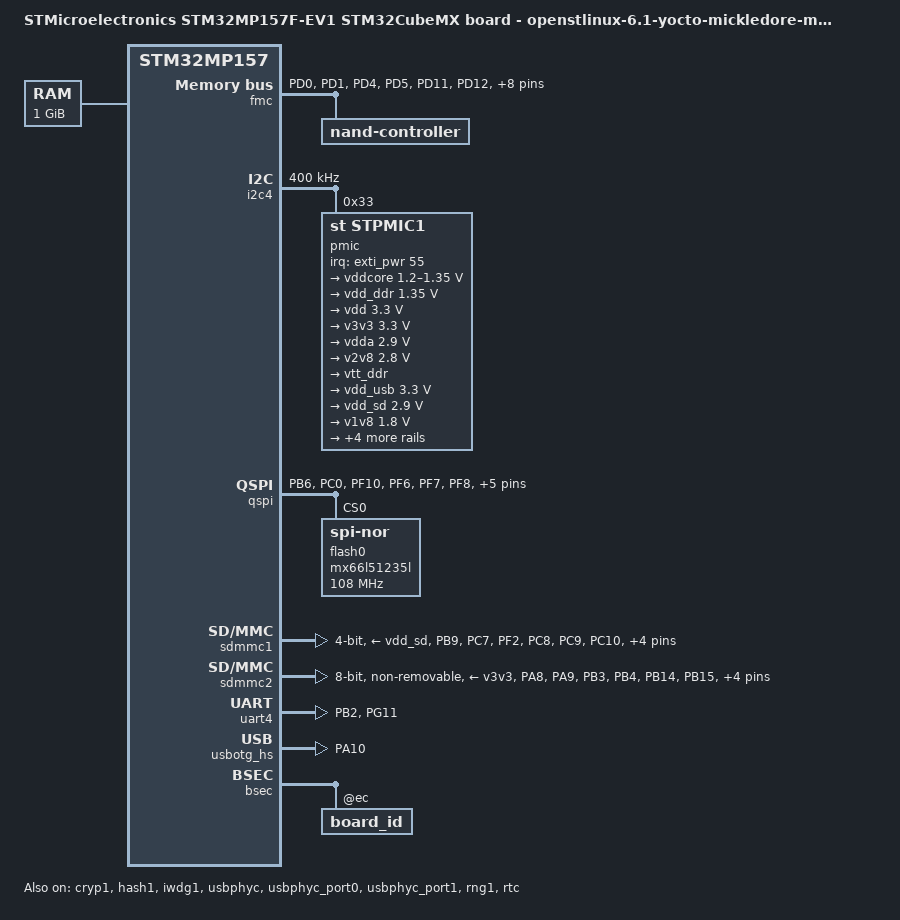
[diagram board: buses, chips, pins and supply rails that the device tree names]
// SPDX-License-Identifier: (GPL-2.0-or-later OR BSD-3-Clause)
/*
 * Copyright (C) 2024, STMicroelectronics - All Rights Reserved
 * Author: STM32CubeMX code generation for STMicroelectronics.
 */

/* For more information on Device Tree configuration, please refer to
 * https://wiki.st.com/stm32mpu/wiki/Category:Device_tree_configuration
 */

/dts-v1/;

#include <dt-bindings/pinctrl/stm32-pinfunc.h>
#include <dt-bindings/clock/stm32mp1-clksrc.h>
#include "stm32mp15-mx.dtsi"

#include "stm32mp157.dtsi"
#include "stm32mp15xf.dtsi"
#include "stm32mp15xxaa-pinctrl.dtsi"
#include "stm32mp15-ddr.dtsi"

/* USER CODE BEGIN includes */
#include "stm32mp15-pinctrl.dtsi"
/* USER CODE END includes */

/ {
	model = "STMicroelectronics STM32MP157F-EV1 STM32CubeMX board - openstlinux-6.1-yocto-mickledore-mpu-v24.06.26";
	compatible = "st,stm32mp157f-stm32mp157f-ev1-mx", "st,stm32mp157f-ev1", "st,stm32mp157";

	memory@c0000000 {
		device_type = "memory";
		reg = <0xc0000000 0x40000000>;

		/* USER CODE BEGIN memory */
		/* USER CODE END memory */
	};

	/* USER CODE BEGIN root */

	chosen{
		stdout-path = "serial0:115200n8";
	};

	aliases{
		serial0 = &uart4;
		serial1 = &usart3;
	};
	/* USER CODE END root */

	clocks {
		/* USER CODE BEGIN clocks */
		/* USER CODE END clocks */

		clk_hsi: clk-hsi {
			clock-frequency = <64000000>;

			/* USER CODE BEGIN clk_hsi */
			/* USER CODE END clk_hsi */
		};
		clk_lse: clk-lse {
			clock-frequency = <32768>;
			st,drive = < LSEDRV_MEDIUM_HIGH >;

			/* USER CODE BEGIN clk_lse */
			/* USER CODE END clk_lse */
		};
		clk_hse: clk-hse {
			clock-frequency = <24000000>;
			st,digbypass;

			/* USER CODE BEGIN clk_hse */
			/* USER CODE END clk_hse */
		};
	};

}; /*root*/

&pinctrl {
	fmc_pins_mx: fmc_mx-0 {
		pins1 {
			pinmux = <STM32_PINMUX('D', 0, AF12)>, /* FMC_D2 */
					 <STM32_PINMUX('D', 1, AF12)>, /* FMC_D3 */
					 <STM32_PINMUX('D', 4, AF12)>, /* FMC_NOE */
					 <STM32_PINMUX('D', 5, AF12)>, /* FMC_NWE */
					 <STM32_PINMUX('D', 11, AF12)>, /* FMC_CLE */
					 <STM32_PINMUX('D', 12, AF12)>, /* FMC_ALE */
					 <STM32_PINMUX('D', 14, AF12)>, /* FMC_D0 */
					 <STM32_PINMUX('D', 15, AF12)>, /* FMC_D1 */
					 <STM32_PINMUX('E', 7, AF12)>, /* FMC_D4 */
					 <STM32_PINMUX('E', 8, AF12)>, /* FMC_D5 */
					 <STM32_PINMUX('E', 9, AF12)>, /* FMC_D6 */
					 <STM32_PINMUX('E', 10, AF12)>, /* FMC_D7 */
					 <STM32_PINMUX('G', 9, AF12)>; /* FMC_NCE */
			bias-disable;
			drive-push-pull;
			slew-rate = <1>;
		};
		pins2 {
			pinmux = <STM32_PINMUX('D', 6, AF12)>; /* FMC_NWAIT */
			bias-pull-up;
		};
	};

	quadspi_pins_mx: quadspi_mx-0 {
		pins1 {
			pinmux = <STM32_PINMUX('B', 6, AF10)>, /* QUADSPI_BK1_NCS */
					 <STM32_PINMUX('C', 0, AF10)>; /* QUADSPI_BK2_NCS */
			bias-pull-up;
			drive-push-pull;
			slew-rate = <1>;
		};
		pins2 {
			pinmux = <STM32_PINMUX('F', 10, AF9)>; /* QUADSPI_CLK */
			bias-disable;
			drive-push-pull;
			slew-rate = <3>;
		};
		pins3 {
			pinmux = <STM32_PINMUX('F', 6, AF9)>, /* QUADSPI_BK1_IO3 */
					 <STM32_PINMUX('F', 7, AF9)>, /* QUADSPI_BK1_IO2 */
					 <STM32_PINMUX('F', 8, AF10)>, /* QUADSPI_BK1_IO0 */
					 <STM32_PINMUX('F', 9, AF10)>, /* QUADSPI_BK1_IO1 */
					 <STM32_PINMUX('G', 7, AF11)>, /* QUADSPI_BK2_IO3 */
					 <STM32_PINMUX('G', 10, AF11)>, /* QUADSPI_BK2_IO2 */
					 <STM32_PINMUX('H', 2, AF9)>, /* QUADSPI_BK2_IO0 */
					 <STM32_PINMUX('H', 3, AF9)>; /* QUADSPI_BK2_IO1 */
			bias-disable;
			drive-push-pull;
			slew-rate = <1>;
		};
	};

	sdmmc1_pins_mx: sdmmc1_mx-0 {
		pins1 {
			pinmux = <STM32_PINMUX('B', 9, AF11)>, /* SDMMC1_CDIR */
					 <STM32_PINMUX('C', 7, AF8)>, /* SDMMC1_D123DIR */
					 <STM32_PINMUX('F', 2, AF11)>; /* SDMMC1_D0DIR */
			bias-pull-up;
			drive-push-pull;
			slew-rate = <1>;
		};
		pins2 {
			pinmux = <STM32_PINMUX('C', 8, AF12)>, /* SDMMC1_D0 */
					 <STM32_PINMUX('C', 9, AF12)>, /* SDMMC1_D1 */
					 <STM32_PINMUX('C', 10, AF12)>, /* SDMMC1_D2 */
					 <STM32_PINMUX('C', 11, AF12)>, /* SDMMC1_D3 */
					 <STM32_PINMUX('D', 2, AF12)>; /* SDMMC1_CMD */
			bias-disable;
			drive-push-pull;
			slew-rate = <1>;
		};
		pins3 {
			pinmux = <STM32_PINMUX('C', 12, AF12)>; /* SDMMC1_CK */
			bias-disable;
			drive-push-pull;
			slew-rate = <2>;
		};
		pins4 {
			pinmux = <STM32_PINMUX('E', 4, AF8)>; /* SDMMC1_CKIN */
			bias-pull-up;
		};
	};

	sdmmc2_pins_mx: sdmmc2_mx-0 {
		pins1 {
			pinmux = <STM32_PINMUX('A', 8, AF9)>, /* SDMMC2_D4 */
					 <STM32_PINMUX('A', 9, AF10)>, /* SDMMC2_D5 */
					 <STM32_PINMUX('B', 3, AF9)>, /* SDMMC2_D2 */
					 <STM32_PINMUX('B', 4, AF9)>, /* SDMMC2_D3 */
					 <STM32_PINMUX('B', 14, AF9)>, /* SDMMC2_D0 */
					 <STM32_PINMUX('B', 15, AF9)>, /* SDMMC2_D1 */
					 <STM32_PINMUX('D', 3, AF9)>, /* SDMMC2_D7 */
					 <STM32_PINMUX('E', 5, AF9)>, /* SDMMC2_D6 */
					 <STM32_PINMUX('G', 6, AF10)>; /* SDMMC2_CMD */
			bias-pull-up;
			drive-push-pull;
			slew-rate = <1>;
		};
		pins2 {
			pinmux = <STM32_PINMUX('E', 3, AF9)>; /* SDMMC2_CK */
			bias-pull-up;
			drive-push-pull;
			slew-rate = <2>;
		};
	};

	uart4_pins_mx: uart4_mx-0 {
		pins1 {
			pinmux = <STM32_PINMUX('B', 2, AF8)>; /* UART4_RX */
			bias-disable;
		};
		pins2 {
			pinmux = <STM32_PINMUX('G', 11, AF6)>; /* UART4_TX */
			bias-disable;
			drive-push-pull;
			slew-rate = <0>;
		};
	};

	usb_otg_hs_pins_mx: usb_otg_hs_mx-0 {
		pins {
			pinmux = <STM32_PINMUX('A', 10, ANALOG)>; /* USB_OTG_HS_ID */
		};
	};

	/* USER CODE BEGIN pinctrl */
	/* USER CODE END pinctrl */
};

&pinctrl_z {
	i2c4_pins_z_mx: i2c4_mx-0 {
		pins {
			pinmux = <STM32_PINMUX('Z', 4, AF6)>, /* I2C4_SCL */
					 <STM32_PINMUX('Z', 5, AF6)>; /* I2C4_SDA */
			bias-disable;
			drive-open-drain;
			slew-rate = <0>;
		};
	};

	/* USER CODE BEGIN pinctrl_z */
	/* USER CODE END pinctrl_z */
};

&cryp1{
	status = "okay";

	/* USER CODE BEGIN cryp1 */
	/* USER CODE END cryp1 */
};

&fmc{
	pinctrl-names = "default";
	pinctrl-0 = <&fmc_pins_mx>;
	status = "okay";

	/* USER CODE BEGIN fmc */

	nand-controller@4,0{
		status = "okay";

		nand@0{
			reg = <0>;
			nand-on-flash-bbt;
			#address-cells = <1>;
			#size-cells = <1>;
		};
	};
	/* USER CODE END fmc */
};

&hash1{
	status = "okay";

	/* USER CODE BEGIN hash1 */
	/* USER CODE END hash1 */
};

&i2c4{
	pinctrl-names = "default";
	pinctrl-0 = <&i2c4_pins_z_mx>;
	status = "okay";

	/* USER CODE BEGIN i2c4 */
	i2c-scl-rising-time-ns = <185>;
	i2c-scl-falling-time-ns = <20>;
	clock-frequency = <400000>;

	pmic:stpmic@33{
		compatible = "st,stpmic1";
		reg = <0x33>;
		interrupts-extended = <&exti_pwr 55 IRQ_TYPE_EDGE_FALLING>;
		interrupt-controller;
		#interrupt-cells = <2>;
		status = "okay";

		regulators{
			compatible = "st,stpmic1-regulators";
			ldo1-supply = <&v3v3>;
			ldo2-supply = <&v3v3>;
			ldo3-supply = <&vdd_ddr>;
			ldo5-supply = <&v3v3>;
			ldo6-supply = <&v3v3>;
			pwr_sw1-supply = <&bst_out>;
			pwr_sw2-supply = <&bst_out>;

			vddcore:buck1{
				regulator-name = "vddcore";
				regulator-min-microvolt = <1200000>;
				regulator-max-microvolt = <1350000>;
				regulator-always-on;
				regulator-initial-mode = <0>;
				regulator-over-current-protection;
			};

			vdd_ddr:buck2{
				regulator-name = "vdd_ddr";
				regulator-min-microvolt = <1350000>;
				regulator-max-microvolt = <1350000>;
				regulator-always-on;
				regulator-initial-mode = <0>;
				regulator-over-current-protection;
			};

			vdd:buck3{
				regulator-name = "vdd";
				regulator-min-microvolt = <3300000>;
				regulator-max-microvolt = <3300000>;
				regulator-always-on;
				st,mask-reset;
				regulator-initial-mode = <0>;
				regulator-over-current-protection;
			};

			v3v3:buck4{
				regulator-name = "v3v3";
				regulator-min-microvolt = <3300000>;
				regulator-max-microvolt = <3300000>;
				regulator-always-on;
				regulator-over-current-protection;
				regulator-initial-mode = <0>;
			};

			vdda:ldo1{
				regulator-name = "vdda";
				regulator-min-microvolt = <2900000>;
				regulator-max-microvolt = <2900000>;
			};

			v2v8:ldo2{
				regulator-name = "v2v8";
				regulator-min-microvolt = <2800000>;
				regulator-max-microvolt = <2800000>;
			};

			vtt_ddr:ldo3{
				regulator-name = "vtt_ddr";
				regulator-always-on;
				regulator-over-current-protection;
				st,regulator-sink-source;
			};

			vdd_usb:ldo4{
				regulator-name = "vdd_usb";
				regulator-min-microvolt = <3300000>;
				regulator-max-microvolt = <3300000>;
			};

			vdd_sd:ldo5{
				regulator-name = "vdd_sd";
				regulator-min-microvolt = <2900000>;
				regulator-max-microvolt = <2900000>;
				regulator-boot-on;
			};

			v1v8:ldo6{
				regulator-name = "v1v8";
				regulator-min-microvolt = <1800000>;
				regulator-max-microvolt = <1800000>;
			};

			vref_ddr:vref_ddr{
				regulator-name = "vref_ddr";
				regulator-always-on;
			};

			bst_out:boost{
				regulator-name = "bst_out";
			};

			vbus_otg:pwr_sw1{
				regulator-name = "vbus_otg";
			};

			vbus_sw:pwr_sw2{
				regulator-name = "vbus_sw";
				regulator-active-discharge = <1>;
			};
		};
	};
	/* USER CODE END i2c4 */
};

&iwdg1{
	status = "okay";

	/* USER CODE BEGIN iwdg1 */
	timeout-sec = <32>;
	/* USER CODE END iwdg1 */
};

&qspi{
	pinctrl-names = "default";
	pinctrl-0 = <&quadspi_pins_mx>;
	status = "okay";

	/* USER CODE BEGIN qspi */
	reg = <0x58003000 0x1000>,
			<0x70000000 0x4000000>;
	#address-cells = <1>;
	#size-cells = <0>;

	flash0:mx66l51235l@0{
		compatible = "jedec,spi-nor";
		reg = <0>;
		spi-rx-bus-width = <4>;
		spi-max-frequency = <108000000>;
		#address-cells = <1>;
		#size-cells = <1>;
	};
	/* USER CODE END qspi */
};

&rcc{
	status = "okay";

	/* USER CODE BEGIN rcc */
	compatible = "st,stm32mp1-rcc-secure", "st,stm32mp1-rcc", "syscon";
	/* USER CODE END rcc */

	st,clksrc = <
		CLK_CKPER_DISABLED
		CLK_FMC_ACLK
		CLK_QSPI_ACLK
		CLK_SDMMC12_PLL4P
		CLK_STGEN_HSE
		CLK_I2C46_HSI
		CLK_USBO_USBPHY
		CLK_UART24_HSI
		CLK_MPU_PLL1P
		CLK_AXI_PLL2P
		CLK_MCU_PLL3P
	>;
	st,clkdiv = <
		DIV(DIV_MPU, 1)
		DIV(DIV_AXI, 0)
		DIV(DIV_MCU, 0)
		DIV(DIV_APB1, 1)
		DIV(DIV_APB2, 1)
		DIV(DIV_APB3, 1)
		DIV(DIV_APB4, 1)
		DIV(DIV_APB5, 2)
		DIV(DIV_RTC, 23)
		DIV(DIV_MCO1, 0)
		DIV(DIV_MCO2, 0)
	>;
	st,pll_vco {
		pll2_vco_1066Mhz: pll2-vco-1066Mhz {
			src = < CLK_PLL12_HSE >;
			divmn = < 2 65 >;
			frac = < 0x1400 >;
		};
		pll3_vco_417Mhz: pll3-vco-417Mhz {
			src = < CLK_PLL3_HSE >;
			divmn = < 1 33 >;
			frac = < 0x1a04 >;
		};
		pll4_vco_594Mhz: pll4-vco-594Mhz {
			src = < CLK_PLL4_HSE >;
			divmn = < 3 98 >;
		};
		/* USER CODE BEGIN rcc_st-pll_vco */
		/* USER CODE END rcc_st-pll_vco */
	};

	pll2:st,pll@1 {
		compatible = "st,stm32mp1-pll";
		reg = <1>;

		st,pll = < &pll2_cfg1 >;

		pll2_cfg1: pll2_cfg1 {
			st,pll_vco = < &pll2_vco_1066Mhz >;
			st,pll_div_pqr = < 1 0 0 >;
		};
		/* USER CODE BEGIN pll2 */
		/* USER CODE END pll2 */
	};

	pll3:st,pll@2 {
		compatible = "st,stm32mp1-pll";
		reg = <2>;

		st,pll = < &pll3_cfg1 >;

		pll3_cfg1: pll3_cfg1 {
			st,pll_vco = < &pll3_vco_417Mhz >;
			st,pll_div_pqr = < 1 16 36 >;
		};
		/* USER CODE BEGIN pll3 */
		/* USER CODE END pll3 */
	};

	pll4:st,pll@3 {
		compatible = "st,stm32mp1-pll";
		reg = <3>;

		st,pll = < &pll4_cfg1 >;

		pll4_cfg1: pll4_cfg1 {
			st,pll_vco = < &pll4_vco_594Mhz >;
			st,pll_div_pqr = < 5 7 7 >;
		};
		/* USER CODE BEGIN pll4 */
		/* USER CODE END pll4 */
	};

};

&sdmmc1{
	pinctrl-names = "default";
	pinctrl-0 = <&sdmmc1_pins_mx>;
	status = "okay";

	/* USER CODE BEGIN sdmmc1 */
	disable-wp;
	st,sig-dir;
	st,neg-edge;
	st,use-ckin;
	bus-width = <4>;
	vmmc-supply = <&vdd_sd>;
	sd-uhs-sdr12;
	sd-uhs-sdr25;
	sd-uhs-sdr50;
	sd-uhs-ddr50;
	/* USER CODE END sdmmc1 */
};

&sdmmc2{
	pinctrl-names = "default";
	pinctrl-0 = <&sdmmc2_pins_mx>;
	status = "okay";

	/* USER CODE BEGIN sdmmc2 */
	non-removable;
	no-sd;
	no-sdio;
	st,neg-edge;
	bus-width = <8>;
	vmmc-supply = <&v3v3>;
	vqmmc-supply = <&vdd>;
	mmc-ddr-3_3v;
	/* USER CODE END sdmmc2 */
};

&uart4{
	pinctrl-names = "default";
	pinctrl-0 = <&uart4_pins_mx>;
	status = "okay";

	/* USER CODE BEGIN uart4 */
	/* USER CODE END uart4 */
};

&usbotg_hs{
	pinctrl-names = "default";
	pinctrl-0 = <&usb_otg_hs_pins_mx>;
	status = "okay";

	/* USER CODE BEGIN usbotg_hs */
	/* USER CODE END usbotg_hs */
};

&usbphyc{
	status = "okay";

	/* USER CODE BEGIN usbphyc */
	/* USER CODE END usbphyc */
};

&usbphyc_port0{
	status = "okay";

	/* USER CODE BEGIN usbphyc_port0 */
	/* USER CODE END usbphyc_port0 */
};

&usbphyc_port1{
	status = "okay";

	/* USER CODE BEGIN usbphyc_port1 */
	/* USER CODE END usbphyc_port1 */
};

/* USER CODE BEGIN addons */

&bsec{

	board_id:board_id@ec{
		reg = <0xec 0x4>;
		st,non-secure-otp;
	};
};

&cpu0{
	cpu-supply = <&vddcore>;
};

&cpu1{
	cpu-supply = <&vddcore>;
};

&pwr_regulators{
	vdd-supply = <&vdd>;
	vdd_3v3_usbfs-supply = <&vdd_usb>;
};

&rng1{
	status = "okay";
};

&rtc{
	status = "okay";
};
/* USER CODE END addons */

